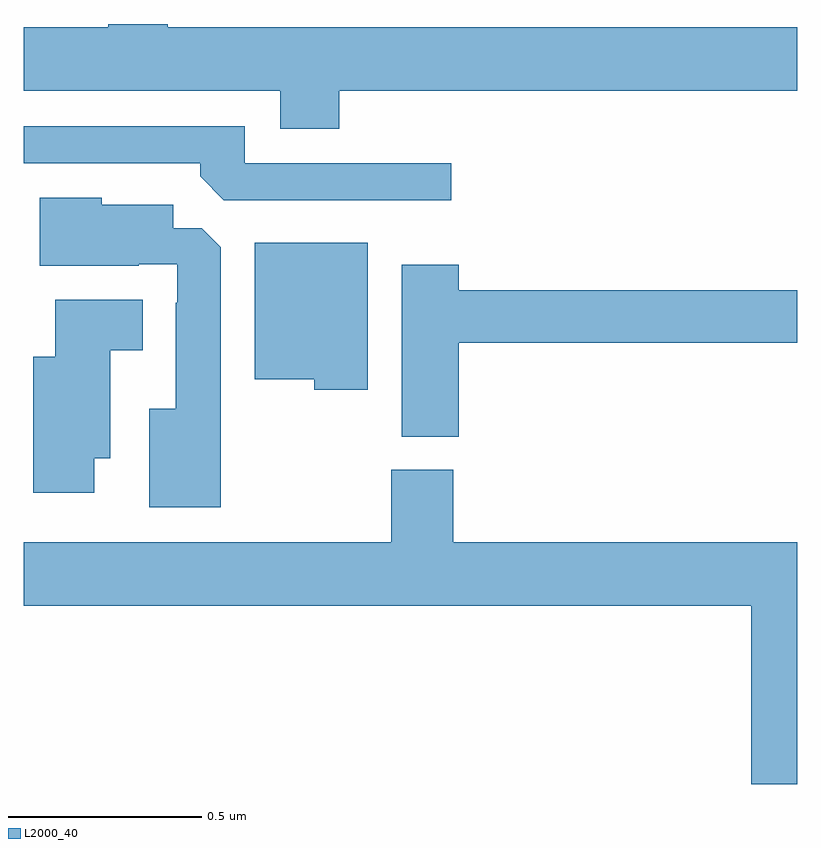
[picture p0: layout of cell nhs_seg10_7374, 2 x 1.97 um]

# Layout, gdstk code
import gdstk
lib = gdstk.Library(unit=1e-6, precision=1e-09)
def P(c, l, *ps):  # polygons
    for p in ps: c.add(gdstk.Polygon(p, *l))
L2000_40 = (2000, 40)

nhs_seg10_7374 = lib.new_cell('nhs_seg10_7374')
P(nhs_seg10_7374, L2000_40, [(203.816,1288.328),(205,1288.328),(205,1288.492),(203.372,1288.492),(203.372,1288.5),(203.219,1288.5),(203.219,1288.492),(203,1288.492),(203,1288.328),(203.663,1288.328),(203.663,1288.229),(203.816,1288.229)],
  [(204.106,1288.14),(203.571,1288.14),(203.571,1288.236),(203,1288.236),(203,1288.14),(203.456,1288.14),(203.456,1288.106),(203.517,1288.044),(204.106,1288.044)],
  [(203.509,1287.923),(203.46,1287.972),(203.386,1287.972),(203.386,1288.033),(203.202,1288.033),(203.202,1288.051),(203.042,1288.051),(203.042,1287.875),(203.297,1287.875),(203.297,1287.879),(203.397,1287.879),(203.397,1287.779),(203.393,1287.779),(203.393,1287.505),(203.324,1287.505),(203.324,1287.251),(203.509,1287.251)],
  [(203.89,1287.934),(203.597,1287.934),(203.597,1287.581),(203.751,1287.581),(203.751,1287.554),(203.89,1287.554)],
  [(204.125,1287.676),(205,1287.676),(205,1287.812),(204.125,1287.812),(204.125,1287.877),(203.978,1287.877),(203.978,1287.433),(204.125,1287.433)],
  [(203.182,1287.377),(203.224,1287.377),(203.224,1287.656),(203.308,1287.656),(203.308,1287.787),(203.081,1287.787),(203.081,1287.64),(203.024,1287.64),(203.024,1287.288),(203.182,1287.288)],
  [(205,1287.16),(204.11,1287.16),(204.11,1287.348),(203.95,1287.348),(203.95,1287.16),(203,1287.16),(203,1286.996),(204.881,1286.996),(204.881,1286.535),(205,1286.535)])

lib.write_gds('nhs_seg10_7374.gds')
